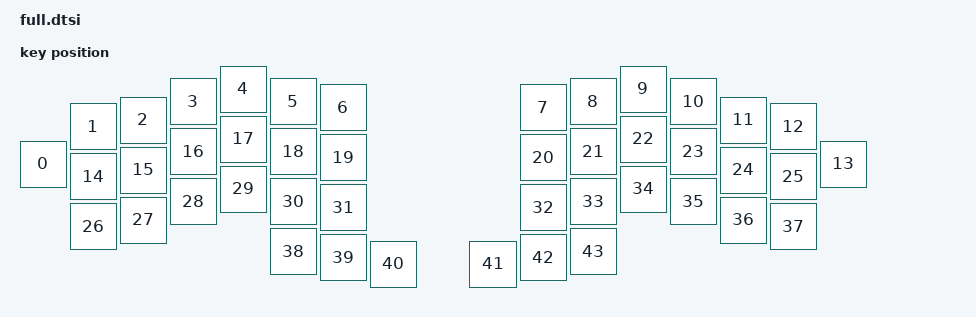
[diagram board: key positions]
#include <layouts/kgoh/jian/position_map.dtsi>
#include <physical_layouts.dtsi>

/ {
    kgoh_jian_full_layout: kgoh_jian_full_layout {
        compatible = "zmk,physical-layout";
        display-name = "Full (with pinky)";

        keys  //                     w   h    x    y     rot    rx    ry
            = <&key_physical_attrs 100 100    0  150       0     0     0>
            , <&key_physical_attrs 100 100  100   75       0     0     0>
            , <&key_physical_attrs 100 100  200   62       0     0     0>
            , <&key_physical_attrs 100 100  300   25       0     0     0>
            , <&key_physical_attrs 100 100  400    0       0     0     0>
            , <&key_physical_attrs 100 100  500   25       0     0     0>
            , <&key_physical_attrs 100 100  600   37       0     0     0>
            , <&key_physical_attrs 100 100 1000   37       0     0     0>
            , <&key_physical_attrs 100 100 1100   25       0     0     0>
            , <&key_physical_attrs 100 100 1200    0       0     0     0>
            , <&key_physical_attrs 100 100 1300   25       0     0     0>
            , <&key_physical_attrs 100 100 1400   62       0     0     0>
            , <&key_physical_attrs 100 100 1500   75       0     0     0>
            , <&key_physical_attrs 100 100 1600  150       0     0     0>
            , <&key_physical_attrs 100 100  100  175       0     0     0>
            , <&key_physical_attrs 100 100  200  162       0     0     0>
            , <&key_physical_attrs 100 100  300  125       0     0     0>
            , <&key_physical_attrs 100 100  400  100       0     0     0>
            , <&key_physical_attrs 100 100  500  125       0     0     0>
            , <&key_physical_attrs 100 100  600  137       0     0     0>
            , <&key_physical_attrs 100 100 1000  137       0     0     0>
            , <&key_physical_attrs 100 100 1100  125       0     0     0>
            , <&key_physical_attrs 100 100 1200  100       0     0     0>
            , <&key_physical_attrs 100 100 1300  125       0     0     0>
            , <&key_physical_attrs 100 100 1400  162       0     0     0>
            , <&key_physical_attrs 100 100 1500  175       0     0     0>
            , <&key_physical_attrs 100 100  100  275       0     0     0>
            , <&key_physical_attrs 100 100  200  262       0     0     0>
            , <&key_physical_attrs 100 100  300  225       0     0     0>
            , <&key_physical_attrs 100 100  400  200       0     0     0>
            , <&key_physical_attrs 100 100  500  225       0     0     0>
            , <&key_physical_attrs 100 100  600  237       0     0     0>
            , <&key_physical_attrs 100 100 1000  237       0     0     0>
            , <&key_physical_attrs 100 100 1100  225       0     0     0>
            , <&key_physical_attrs 100 100 1200  200       0     0     0>
            , <&key_physical_attrs 100 100 1300  225       0     0     0>
            , <&key_physical_attrs 100 100 1400  262       0     0     0>
            , <&key_physical_attrs 100 100 1500  275       0     0     0>
            , <&key_physical_attrs 100 100  500  325       0     0     0>
            , <&key_physical_attrs 100 100  600  337       0     0     0>
            , <&key_physical_attrs 100 100  700  350       0     0     0>
            , <&key_physical_attrs 100 100  900  350       0     0     0>
            , <&key_physical_attrs 100 100 1000  337       0     0     0>
            , <&key_physical_attrs 100 100 1100  325       0     0     0>
        ;
    };
};

&layouts_kgoh_jian_position_map {
    kgoh_jian_full_posmap: full {
        physical-layout = <&kgoh_jian_full_layout>;
        positions
            = < 0  1  2  3  4  5  6        7  8  9 10 11 12 13>
            , <   14 15 16 17 18 19       20 21 22 23 24 25   >
            , <   26 27 28 29 30 31       32 33 34 35 36 37   >
            , <               38 39 40 41 42 43               >;
    };
};
